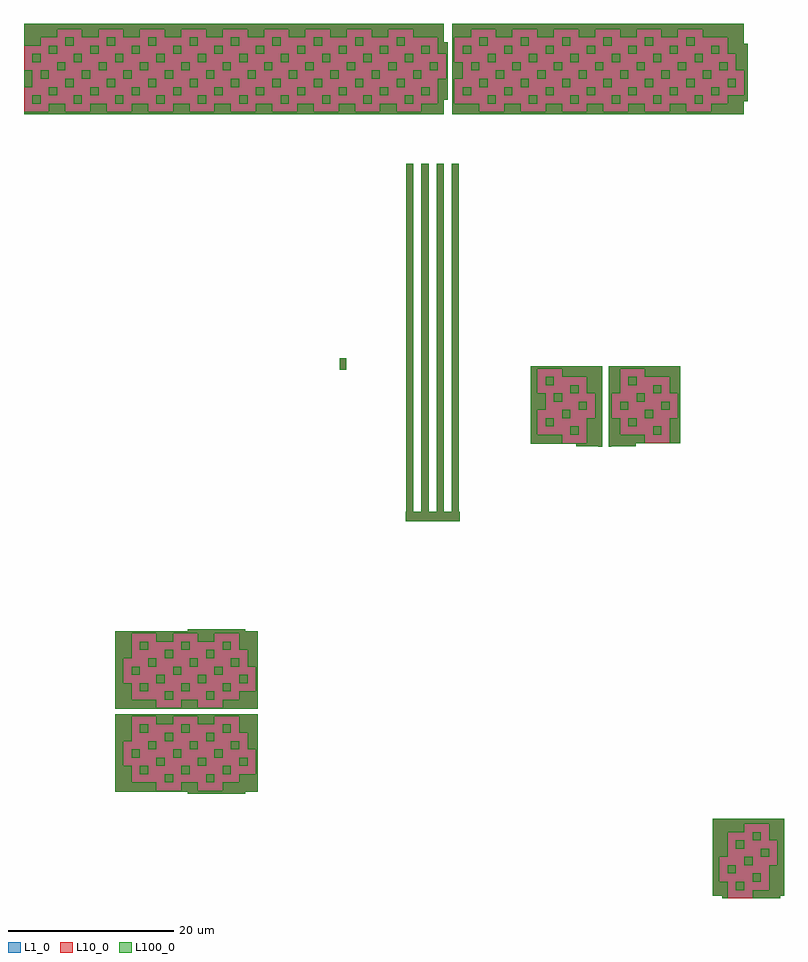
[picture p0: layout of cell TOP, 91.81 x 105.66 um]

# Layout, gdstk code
import gdstk
lib = gdstk.Library(unit=1e-6, precision=1e-09)
def R(c, l, rs):  # rectangles x0, y0, x1, y1
    for r in rs: c.add(gdstk.rectangle(r[:2], r[2:], *l))
def P(c, l, *ps):  # polygons
    for p in ps: c.add(gdstk.Polygon(p, *l))
L1_0 = (1, 0)
L10_0 = (10, 0)
L100_0 = (100, 0)

pat1 = lib.new_cell('PAT1')
R(pat1, L100_0, [(0,0,1,1)])

top = lib.new_cell('TOP')
R(top, L1_0, [(38.14,63.84,38.95,65.24)])
P(top, L1_0, [(0,94.703),(0,105.656),(50.732,105.656),(50.732,103.431),(51.214,103.431),(51.214,96.462),(50.732,96.462),(50.732,94.703)],
  [(51.75,94.703),(51.75,105.656),(86.941,105.656),(86.941,103.259),(87.423,103.259),(87.423,96.29),(86.941,96.29),(86.941,94.703)],
  [(70.622,54.579),(70.622,64.274),(79.247,64.274),(79.247,54.959),(73.881,54.959),(73.881,54.614),(70.949,54.614),(70.949,54.579)],
  [(84.353,0),(84.353,0.311),(83.18,0.311),(83.18,9.626),(91.805,9.626),(91.805,0.311),(91.322,0.311),(91.322,0)],
  [(11.006,22.874),(11.006,32.24),(19.768,32.24),(19.768,32.499),(26.738,32.499),(26.738,32.24),(28.256,32.24),(28.256,22.874)],
  [(46.108,45.575),(46.108,46.679),(46.178,46.679),(46.178,88.734),(47.04,88.734),(47.04,46.679),(48.006,46.679),(48.006,88.734),(48.868,88.734),(48.868,46.679),(49.834,46.679),(49.834,88.734),(50.697,88.734),(50.697,46.679),(51.663,46.679),(51.663,88.734),(52.526,88.734),(52.526,46.679),(52.629,46.679),(52.629,45.575)],
  [(19.768,12.609),(19.768,12.869),(11.006,12.869),(11.006,22.235),(28.256,22.235),(28.256,12.869),(26.738,12.869),(26.738,12.609)],
  [(69.396,54.579),(69.396,54.614),(66.705,54.614),(66.705,54.906),(61.203,54.906),(61.203,64.274),(69.828,64.274),(69.828,54.579)])
R(top, L10_0, [(38.14,63.84,38.95,65.24)])
P(top, L10_0, [(0,94.703),(0,105.656),(50.732,105.656),(50.732,103.431),(51.214,103.431),(51.214,96.462),(50.732,96.462),(50.732,94.703)],
  [(51.75,94.703),(51.75,105.656),(86.941,105.656),(86.941,103.259),(87.423,103.259),(87.423,96.29),(86.941,96.29),(86.941,94.703)],
  [(70.622,54.579),(70.622,64.274),(79.247,64.274),(79.247,54.959),(73.881,54.959),(73.881,54.614),(70.949,54.614),(70.949,54.579)],
  [(84.353,0),(84.353,0.311),(83.18,0.311),(83.18,9.626),(91.805,9.626),(91.805,0.311),(91.322,0.311),(91.322,0)],
  [(11.006,22.874),(11.006,32.24),(19.768,32.24),(19.768,32.499),(26.738,32.499),(26.738,32.24),(28.256,32.24),(28.256,22.874)],
  [(46.108,45.575),(46.108,46.679),(46.178,46.679),(46.178,88.734),(47.04,88.734),(47.04,46.679),(48.006,46.679),(48.006,88.734),(48.868,88.734),(48.868,46.679),(49.834,46.679),(49.834,88.734),(50.697,88.734),(50.697,46.679),(51.663,46.679),(51.663,88.734),(52.526,88.734),(52.526,46.679),(52.629,46.679),(52.629,45.575)],
  [(19.768,12.609),(19.768,12.869),(11.006,12.869),(11.006,22.235),(28.256,22.235),(28.256,12.869),(26.738,12.869),(26.738,12.609)],
  [(69.396,54.579),(69.396,54.614),(66.705,54.614),(66.705,54.906),(61.203,54.906),(61.203,64.274),(69.828,64.274),(69.828,54.579)])
R(top, L100_0, [(38.14,63.84,38.95,65.24), (0,98,1,100)])
P(top, L100_0, [(84.353,0),(84.353,0.311),(83.18,0.311),(83.18,9.626),(91.805,9.626),(91.805,0.311),(91.322,0.311),(91.322,0),(88,0),(88,1),(90,1),(90,4),(91,4),(91,7),(90,7),(90,9),(87,9),(87,8),(85,8),(85,5),(84,5),(84,2),(85,2),(85,0)],
  [(19.768,12.609),(19.768,12.869),(11.006,12.869),(11.006,22),(13,22),(13,19),(12,19),(12,16),(13,16),(13,14),(16,14),(16,13),(19,13),(19,14),(21,14),(21,13),(24,13),(24,14),(26,14),(26,15),(28,15),(28,18),(27,18),(27,20),(26,20),(26,22),(23,22),(23,21),(21,21),(21,22),(18,22),(18,21),(16,21),(16,22),(11.006,22),(11.006,22.235),(28.256,22.235),(28.256,12.869),(26.738,12.869),(26.738,12.609)],
  [(11.006,22.874),(11.006,32),(13,32),(13,29),(12,29),(12,26),(13,26),(13,24),(16,24),(16,23),(19,23),(19,24),(21,24),(21,23),(24,23),(24,24),(26,24),(26,25),(28,25),(28,28),(27,28),(27,30),(26,30),(26,32),(23,32),(23,31),(21,31),(21,32),(18,32),(18,31),(16,31),(16,32),(11.006,32),(11.006,32.24),(19.768,32.24),(19.768,32.499),(26.738,32.499),(26.738,32.24),(28.256,32.24),(28.256,22.874)],
  [(69.396,54.579),(69.396,54.614),(66.705,54.614),(66.705,54.906),(61.203,54.906),(61.203,64),(62,64),(62,61),(63,61),(63,59),(62,59),(62,56),(65,56),(65,55),(68,55),(68,58),(69,58),(69,61),(68,61),(68,63),(65,63),(65,64),(61.203,64),(61.203,64.274),(69.828,64.274),(69.828,54.579)],
  [(70.622,54.579),(70.622,64),(72,64),(72,61),(71,61),(71,58),(72,58),(72,56),(75,56),(75,55),(78,55),(78,58),(79,58),(79,61),(78,61),(78,63),(75,63),(75,64),(70.622,64),(70.622,64.274),(79.247,64.274),(79.247,54.959),(73.881,54.959),(73.881,54.614),(70.949,54.614),(70.949,54.579)],
  [(0,94.703),(0,95),(3,95),(3,96),(5,96),(5,95),(8,95),(8,96),(10,96),(10,95),(13,95),(13,96),(15,96),(15,95),(18,95),(18,96),(20,96),(20,95),(23,95),(23,96),(25,96),(25,95),(28,95),(28,96),(30,96),(30,95),(33,95),(33,96),(35,96),(35,95),(38,95),(38,96),(40,96),(40,95),(43,95),(43,96),(45,96),(45,95),(48,95),(48,96),(50,96),(50,99),(51,99),(51,102),(50,102),(50,104),(47,104),(47,105),(44,105),(44,104),(42,104),(42,105),(39,105),(39,104),(37,104),(37,105),(34,105),(34,104),(32,104),(32,105),(29,105),(29,104),(27,104),(27,105),(24,105),(24,104),(22,104),(22,105),(19,105),(19,104),(17,104),(17,105),(14,105),(14,104),(12,104),(12,105),(9,105),(9,104),(7,104),(7,105),(4,105),(4,104),(2,104),(2,103),(0,103),(0,105.656),(50.732,105.656),(50.732,103.431),(51.214,103.431),(51.214,96.462),(50.732,96.462),(50.732,94.703)],
  [(51.75,94.703),(51.75,105),(54,105),(54,104),(52,104),(52,101),(53,101),(53,99),(52,99),(52,96),(55,96),(55,95),(58,95),(58,96),(60,96),(60,95),(63,95),(63,96),(65,96),(65,95),(68,95),(68,96),(70,96),(70,95),(73,95),(73,96),(75,96),(75,95),(78,95),(78,96),(80,96),(80,95),(83,95),(83,96),(85,96),(85,97),(87,97),(87,100),(86,100),(86,102),(85,102),(85,104),(82,104),(82,105),(79,105),(79,104),(77,104),(77,105),(74,105),(74,104),(72,104),(72,105),(69,105),(69,104),(67,104),(67,105),(64,105),(64,104),(62,104),(62,105),(59,105),(59,104),(57,104),(57,105),(51.75,105),(51.75,105.656),(86.941,105.656),(86.941,103.259),(87.423,103.259),(87.423,96.29),(86.941,96.29),(86.941,94.703)],
  [(46.108,45.575),(46.108,46.679),(46.178,46.679),(46.178,88.734),(47.04,88.734),(47.04,46.679),(48.006,46.679),(48.006,88.734),(48.868,88.734),(48.868,46.679),(49.834,46.679),(49.834,88.734),(50.697,88.734),(50.697,46.679),(51.663,46.679),(51.663,88.734),(52.526,88.734),(52.526,46.679),(52.629,46.679),(52.629,45.575)])
r = gdstk.Reference(pat1, (86,1)); r.repetition = gdstk.Repetition(1, 2, v1=(0,0), v2=(0,5)); top.add(r)
r = gdstk.Reference(pat1, (88,2)); r.repetition = gdstk.Repetition(1, 2, v1=(0,0), v2=(0,5)); top.add(r)
top.add(gdstk.Reference(pat1, (85,3)))
top.add(gdstk.Reference(pat1, (87,4)))
top.add(gdstk.Reference(pat1, (89,5)))
r = gdstk.Reference(pat1, (16,16)); r.repetition = gdstk.Repetition(3, 1, v1=(5,0), v2=(0,0)); top.add(r)
r = gdstk.Reference(pat1, (13,17)); r.repetition = gdstk.Repetition(3, 1, v1=(5,0), v2=(0,0)); top.add(r)
r = gdstk.Reference(pat1, (15,18)); r.repetition = gdstk.Repetition(3, 1, v1=(5,0), v2=(0,0)); top.add(r)
r = gdstk.Reference(pat1, (17,14)); r.repetition = gdstk.Repetition(2, 2, v1=(5,0), v2=(0,5)); top.add(r)
r = gdstk.Reference(pat1, (14,15)); r.repetition = gdstk.Repetition(3, 2, v1=(5,0), v2=(0,5)); top.add(r)
r = gdstk.Reference(pat1, (16,26)); r.repetition = gdstk.Repetition(3, 1, v1=(5,0), v2=(0,0)); top.add(r)
r = gdstk.Reference(pat1, (13,27)); r.repetition = gdstk.Repetition(3, 1, v1=(5,0), v2=(0,0)); top.add(r)
r = gdstk.Reference(pat1, (15,28)); r.repetition = gdstk.Repetition(3, 1, v1=(5,0), v2=(0,0)); top.add(r)
r = gdstk.Reference(pat1, (17,24)); r.repetition = gdstk.Repetition(2, 2, v1=(5,0), v2=(0,5)); top.add(r)
r = gdstk.Reference(pat1, (14,25)); r.repetition = gdstk.Repetition(3, 2, v1=(5,0), v2=(0,5)); top.add(r)
r = gdstk.Reference(pat1, (66,56)); r.repetition = gdstk.Repetition(1, 2, v1=(0,0), v2=(0,5)); top.add(r)
r = gdstk.Reference(pat1, (63,57)); r.repetition = gdstk.Repetition(1, 2, v1=(0,0), v2=(0,5)); top.add(r)
top.add(gdstk.Reference(pat1, (65,58)))
top.add(gdstk.Reference(pat1, (67,59)))
top.add(gdstk.Reference(pat1, (64,60)))
r = gdstk.Reference(pat1, (76,56)); r.repetition = gdstk.Repetition(1, 2, v1=(0,0), v2=(0,5)); top.add(r)
r = gdstk.Reference(pat1, (73,57)); r.repetition = gdstk.Repetition(1, 2, v1=(0,0), v2=(0,5)); top.add(r)
top.add(gdstk.Reference(pat1, (75,58)))
r = gdstk.Reference(pat1, (72,59)); r.repetition = gdstk.Repetition(2, 1, v1=(5,0), v2=(0,0)); top.add(r)
top.add(gdstk.Reference(pat1, (74,60)))
r = gdstk.Reference(pat1, (1,96)); r.repetition = gdstk.Repetition(10, 2, v1=(5,0), v2=(0,5)); top.add(r)
r = gdstk.Reference(pat1, (3,97)); r.repetition = gdstk.Repetition(10, 2, v1=(5,0), v2=(0,5)); top.add(r)
r = gdstk.Reference(pat1, (5,98)); r.repetition = gdstk.Repetition(9, 2, v1=(5,0), v2=(0,5)); top.add(r)
r = gdstk.Reference(pat1, (2,99)); r.repetition = gdstk.Repetition(10, 1, v1=(5,0), v2=(0,0)); top.add(r)
r = gdstk.Reference(pat1, (4,100)); r.repetition = gdstk.Repetition(10, 1, v1=(5,0), v2=(0,0)); top.add(r)
r = gdstk.Reference(pat1, (56,96)); r.repetition = gdstk.Repetition(6, 2, v1=(5,0), v2=(0,5)); top.add(r)
r = gdstk.Reference(pat1, (53,97)); r.repetition = gdstk.Repetition(7, 2, v1=(5,0), v2=(0,5)); top.add(r)
r = gdstk.Reference(pat1, (55,98)); r.repetition = gdstk.Repetition(6, 2, v1=(5,0), v2=(0,5)); top.add(r)
top.add(gdstk.Reference(pat1, (85,98)))
r = gdstk.Reference(pat1, (57,99)); r.repetition = gdstk.Repetition(6, 1, v1=(5,0), v2=(0,0)); top.add(r)
r = gdstk.Reference(pat1, (54,100)); r.repetition = gdstk.Repetition(7, 1, v1=(5,0), v2=(0,0)); top.add(r)

lib.write_gds('TOP.gds')
